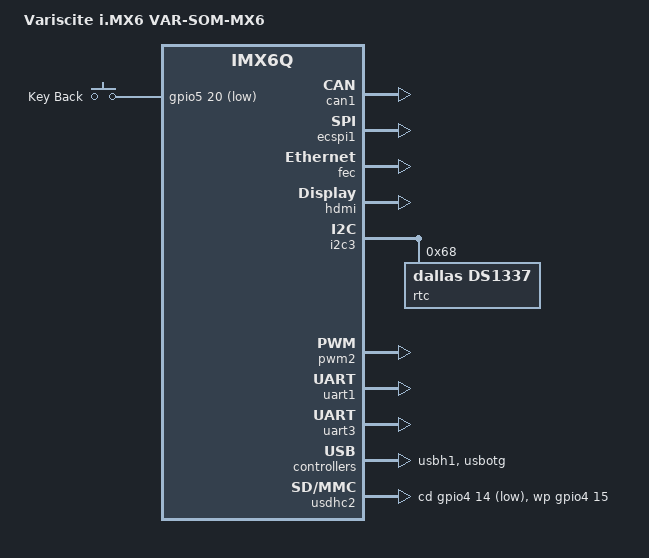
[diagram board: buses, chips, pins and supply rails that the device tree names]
// SPDX-License-Identifier: (GPL-2.0+ OR MIT)
/*
 * Support for Variscite VAR-SOM-MX6 Starter Kit
 *
 * Copyright 2018
 * Author: Andreas Müller <schnitzeltony@gmail.com>
 */

/dts-v1/;

#include "imx6q.dtsi"
#include "imx6qdl-var-som.dtsi"
#include <dt-bindings/input/linux-event-codes.h>

/ {
	model = "Variscite i.MX6 VAR-SOM-MX6";
	compatible = "variscite,var-som", "fsl,imx6q";

	gpio-keys { /* OK */
		compatible = "gpio-keys";
		autorepeat;

		back {
			gpios = <&gpio5 20 GPIO_ACTIVE_LOW>;
			linux,code = <KEY_BACK>;
			label = "Key Back";
			linux,input-type = <1>;
			debounce-interval = <100>;
			wakeup-source;
		};
	};


	sound {
		compatible = "simple-audio-card";
		simple-audio-card,name = "tlv320aic3106-audio";
		simple-audio-card,format = "i2s";
		simple-audio-card,bitclock-master = <&sound_codec>;
		simple-audio-card,frame-master = <&sound_codec>;
		simple-audio-card,widgets = "Headphone", "Headphone Jack",
					    "Line", "Line In";
		simple-audio-card,routing = "Headphone Jack", "HPLOUT",
					    "Headphone Jack", "HPROUT",
					    "LINE1L", "Line In",
					    "LINE1R", "Line In";

		sound_cpu: simple-audio-card,cpu {
			sound-dai = <&ssi2>;
		};

		sound_codec: simple-audio-card,codec {
			sound-dai = <&tlv320aic3106>;
			clocks = <&clks IMX6QDL_CLK_CKO>;
		};
	};
};

&can1 {
	status = "okay";
};

&ecspi1 {
	cs-gpios = <&gpio4 9 GPIO_ACTIVE_HIGH>,
		   <&gpio4 10 GPIO_ACTIVE_HIGH>;
	status = "okay";
};

&fec { /* OK */
	status = "okay";
};

&hdmi {
	status = "okay";
};

&i2c3 { /* OK */
	status = "okay";
	rtc@0x68 {
		compatible = "dallas,ds1337";
		reg = <0x68>;
	};
};

/*&ldb {
	status = "okay";

	lvds-channel@1 {
		status = "okay";

		port@4 {
			reg = <4>;

			lvds1_out: endpoint {
				remote-endpoint = <&panel_in>;
			};
		};
	};
};*/

&pwm2 {
	status = "okay";
};

&uart1 {
	status = "okay";
};

&uart3 {
	status = "okay";
};

&usbh1 {
	status = "okay";
};

&usbotg {
	status = "okay";
};

&usdhc2 { /* OK */
	pinctrl-1 = <&pinctrl_usdhc2cdwp>;
	cd-gpios = <&gpio4 14 GPIO_ACTIVE_LOW>;
	wp-gpios = <&gpio4 15 GPIO_ACTIVE_HIGH>;
	status = "okay";
};

&iomuxc {
	pinctrl_gpio_keys: gpio_keysgrp {
		fsl,pins = <
			/* user button */
			MX6QDL_PAD_CSI0_DATA_EN__GPIO5_IO20 0x17059
		>;
	};

	pinctrl_usdhc2cdwp: usdhc2cdwpgrp {
		fsl,pins = <
      /* SDMMC2 CD/WP */
      MX6QDL_PAD_KEY_COL4__GPIO4_IO14		0x80000000
      MX6QDL_PAD_KEY_ROW4__GPIO4_IO15		0x80000000
		>;
	};
};


